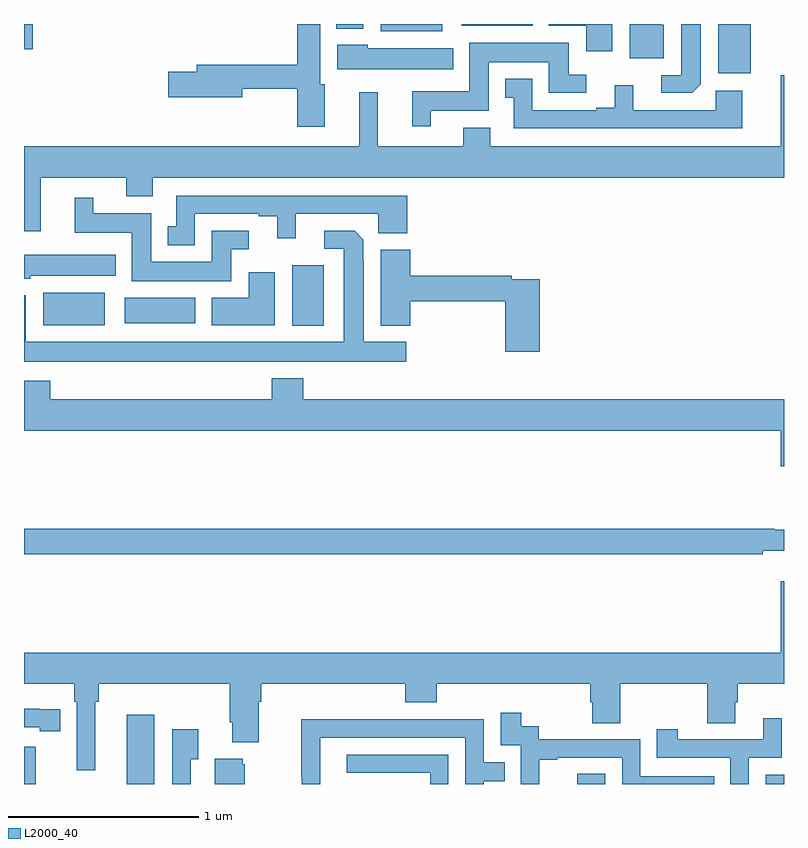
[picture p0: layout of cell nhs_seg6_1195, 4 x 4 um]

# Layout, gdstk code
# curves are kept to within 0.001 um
import gdstk
lib = gdstk.Library(unit=1e-6, precision=1e-09)
def R(c, l, rs):  # rectangles x0, y0, x1, y1
    for r in rs: c.add(gdstk.rectangle(r[:2], r[2:], *l))
def P(c, l, *ps):  # polygons
    for p in ps: c.add(gdstk.Polygon(p, *l))
L2000_40 = (2000, 40)

nhs_seg6_1195 = lib.new_cell('nhs_seg6_1195')
R(nhs_seg6_1195, L2000_40, [(185,921.5,185.063,921.697), (185.54,921.5,185.686,921.865), (187.911,921.5,188.058,921.553), (188.904,921.5,189,921.549), (186.413,923.912,186.577,924.229), (185.102,923.915,185.425,924.085), (185.529,923.924,185.902,924.058), (188.654,925.241,188.825,925.5), (185,925.367,185.047,925.5), (186.878,925.463,187.201,925.5), (186.644,925.476,186.786,925.5), (187.305,925.49,187.678,925.5)])
P(nhs_seg6_1195, L2000_40, [(188.095,925.5),(187.763,925.5),(187.763,925.49),(187.958,925.49),(187.958,925.356),(188.095,925.356)],
  [(188.368,925.497),(188.353,925.497),(188.353,925.5),(188.189,925.5),(188.189,925.32),(188.368,925.32)],
  [(186.583,925.182),(186.559,925.182),(186.559,925.5),(186.437,925.5),(186.437,925.286),(185.909,925.286),(185.909,925.25),(185.76,925.25),(185.76,925.115),(186.148,925.115),(186.148,925.158),(186.437,925.158),(186.437,924.96),(186.583,924.96)],
  [(188.562,925.183),(188.562,925.294),(188.563,925.294),(188.563,925.5),(188.459,925.5),(188.459,925.23),(188.355,925.23),(188.355,925.137),(188.516,925.137)],
  [(187.141,925.043),(187.447,925.043),(187.447,925.298),(187.763,925.298),(187.763,925.137),(187.96,925.137),(187.96,925.233),(187.867,925.233),(187.867,925.402),(187.343,925.402),(187.343,925.147),(187.043,925.147),(187.043,924.963),(187.141,924.963)],
  [(187.258,925.372),(186.81,925.372),(186.81,925.39),(186.648,925.39),(186.648,925.262),(187.258,925.262)],
  [(189,925.231),(188.984,925.231),(188.984,924.856),(187.453,924.856),(187.453,924.955),(187.313,924.955),(187.313,924.856),(186.863,924.856),(186.863,925.141),(186.764,925.141),(186.764,924.856),(185,924.856),(185,924.408),(185.087,924.408),(185.087,924.692),(185.537,924.692),(185.537,924.593),(185.677,924.593),(185.677,924.692),(189,924.692)],
  [(188.779,925.15),(188.64,925.15),(188.64,925.047),(188.206,925.047),(188.206,925.177),(188.108,925.177),(188.108,925.06),(188.012,925.06),(188.012,925.047),(187.674,925.047),(187.674,925.213),(187.532,925.213),(187.532,925.113),(187.578,925.113),(187.578,924.951),(188.779,924.951)],
  [(185.898,924.501),(186.236,924.501),(186.236,924.489),(186.332,924.489),(186.332,924.372),(186.43,924.372),(186.43,924.501),(186.864,924.501),(186.864,924.398),(187.016,924.398),(187.016,924.597),(185.802,924.597),(185.802,924.435),(185.756,924.435),(185.756,924.335),(185.898,924.335)],
  [(186.091,924.315),(186.184,924.315),(186.184,924.411),(185.987,924.411),(185.987,924.25),(185.671,924.25),(185.671,924.505),(185.365,924.505),(185.365,924.586),(185.267,924.586),(185.267,924.401),(185.567,924.401),(185.567,924.146),(186.091,924.146)],
  [(187.012,923.827),(186.787,923.827),(186.786,924.365),(186.74,924.411),(186.579,924.411),(186.579,924.318),(186.683,924.318),(186.683,923.827),(185.01,923.827),(185.01,924.073),(185,924.073),(185,923.723),(187.012,923.723)],
  [(187.715,924.156),(187.568,924.156),(187.568,924.176),(187.034,924.176),(187.034,924.313),(186.878,924.313),(186.878,923.912),(187.034,923.912),(187.034,924.04),(187.532,924.04),(187.532,923.775),(187.715,923.775)],
  [(185.034,924.176),(185.482,924.176),(185.482,924.286),(185,924.286),(185,924.158),(185.034,924.158)],
  [(186.319,924.193),(186.182,924.193),(186.182,924.058),(185.987,924.058),(185.987,923.915),(186.319,923.915)],
  [(189,923.524),(186.47,923.524),(186.47,923.635),(186.305,923.635),(186.305,923.524),(185.138,923.524),(185.138,923.623),(185,923.623),(185,923.36),(188.984,923.36),(188.984,923.172),(189,923.172)],
  [(188.888,922.727),(189,922.727),(189,922.837),(188.95,922.837),(188.95,922.844),(185,922.844),(185,922.708),(188.888,922.708)],
  [(185.374,921.932),(185.393,921.932),(185.393,922.028),(186.083,922.028),(186.083,921.826),(186.095,921.826),(186.095,921.719),(186.235,921.719),(186.235,921.932),(186.248,921.932),(186.248,922.028),(187.007,922.028),(187.007,921.929),(187.172,921.929),(187.172,922.028),(187.979,922.028),(187.979,921.93),(187.991,921.93),(187.991,921.82),(188.139,921.82),(188.139,922.028),(188.596,922.028),(188.596,921.82),(188.743,921.82),(188.743,921.93),(188.756,921.93),(188.756,922.028),(189,922.028),(189,922.567),(188.984,922.567),(188.984,922.192),(185,922.192),(185,922.028),(185.264,922.028),(185.264,921.932),(185.277,921.932),(185.277,921.573),(185.374,921.573)],
  [(185.192,921.894),(185.084,921.894),(185.084,921.895),(185,921.895),(185,921.798),(185.084,921.798),(185.084,921.778),(185.192,921.778)],
  [(187.712,921.627),(187.807,921.627),(187.807,921.639),(188.148,921.639),(188.148,921.5),(188.633,921.5),(188.633,921.54),(188.244,921.54),(188.244,921.735),(187.71,921.735),(187.71,921.804),(187.618,921.804),(187.618,921.874),(187.509,921.874),(187.509,921.705),(187.614,921.705),(187.614,921.5),(187.712,921.5)],
  [(188.814,921.639),(188.988,921.639),(188.988,921.847),(188.891,921.847),(188.891,921.735),(188.44,921.735),(188.44,921.787),(188.329,921.787),(188.329,921.639),(188.718,921.639),(188.718,921.5),(188.814,921.5)],
  [(186.558,921.517),(186.559,921.517),(186.559,921.744),(187.323,921.744),(187.323,921.5),(187.419,921.5),(187.419,921.514),(187.529,921.514),(187.529,921.615),(187.419,921.615),(187.419,921.84),(186.923,921.84),(186.923,921.842),(186.46,921.842),(186.46,921.535),(186.462,921.535),(186.462,921.5),(186.558,921.5)],
  [(185.877,921.631),(185.917,921.631),(185.917,921.787),(185.781,921.787),(185.781,921.5),(185.877,921.5)],
  [(187.233,921.654),(186.699,921.654),(186.699,921.558),(187.137,921.558),(187.137,921.5),(187.233,921.5)],
  [(186.163,921.603),(186.152,921.603),(186.152,921.634),(186.005,921.634),(186.005,921.5),(186.163,921.5)])

lib.write_gds('nhs_seg6_1195.gds')
